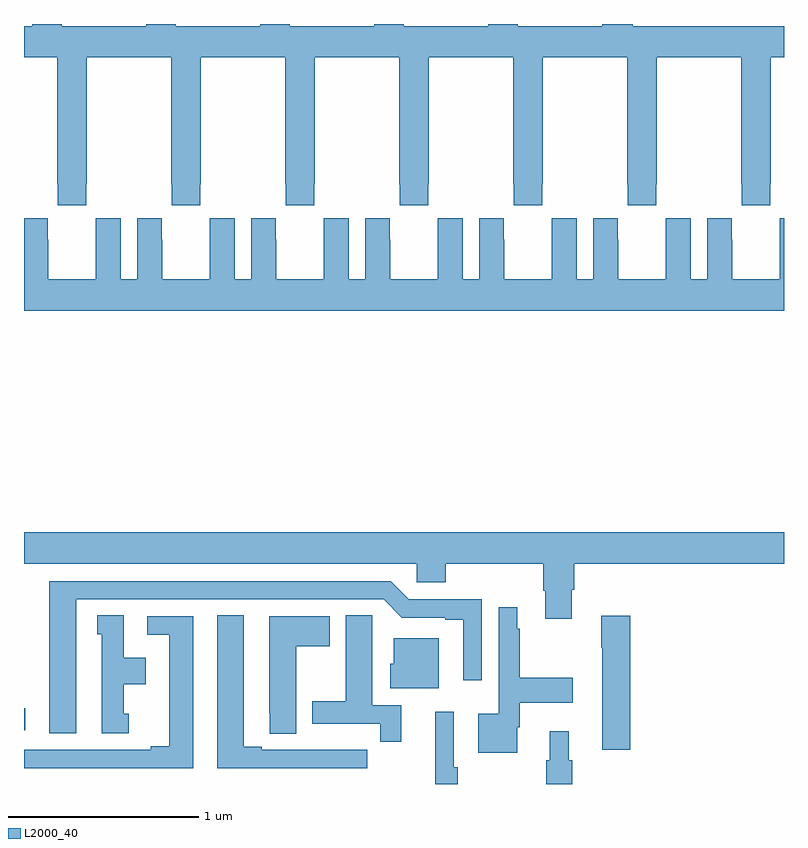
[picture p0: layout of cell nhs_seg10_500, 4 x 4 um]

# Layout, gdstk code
import gdstk
lib = gdstk.Library(unit=1e-6, precision=1e-09)
def R(c, l, rs):  # rectangles x0, y0, x1, y1
    for r in rs: c.add(gdstk.rectangle(r[:2], r[2:], *l))
def P(c, l, *ps):  # polygons
    for p in ps: c.add(gdstk.Polygon(p, *l))
L2000_40 = (2000, 40)

nhs_seg10_500 = lib.new_cell('nhs_seg10_500')
R(nhs_seg10_500, L2000_40, [(135,1288.782,135.007,1288.898)])
P(nhs_seg10_500, L2000_40, [(135.175,1291.657),(135.177,1291.657),(135.177,1291.545),(135.327,1291.545),(135.327,1291.657),(135.33,1291.657),(135.33,1292.324),(135.775,1292.324),(135.775,1291.657),(135.777,1291.657),(135.777,1291.545),(135.927,1291.545),(135.927,1291.657),(135.93,1291.657),(135.93,1292.324),(136.375,1292.324),(136.375,1291.657),(136.377,1291.657),(136.377,1291.545),(136.527,1291.545),(136.527,1291.657),(136.53,1291.657),(136.53,1292.324),(136.975,1292.324),(136.975,1291.657),(136.977,1291.657),(136.977,1291.545),(137.127,1291.545),(137.127,1291.657),(137.13,1291.657),(137.13,1292.324),(137.575,1292.324),(137.575,1291.657),(137.577,1291.657),(137.577,1291.545),(137.727,1291.545),(137.727,1291.657),(137.73,1291.657),(137.73,1292.324),(138.175,1292.324),(138.175,1291.657),(138.177,1291.657),(138.177,1291.545),(138.327,1291.545),(138.327,1291.657),(138.33,1291.657),(138.33,1292.324),(138.775,1292.324),(138.775,1291.657),(138.777,1291.657),(138.777,1291.545),(138.927,1291.545),(138.927,1291.657),(138.93,1291.657),(138.93,1292.324),(139,1292.324),(139,1292.488),(138.203,1292.488),(138.203,1292.5),(138.043,1292.5),(138.043,1292.488),(137.598,1292.488),(137.598,1292.5),(137.443,1292.5),(137.443,1292.488),(136.998,1292.488),(136.998,1292.5),(136.843,1292.5),(136.843,1292.488),(136.398,1292.488),(136.398,1292.5),(136.243,1292.5),(136.243,1292.488),(135.798,1292.488),(135.798,1292.5),(135.643,1292.5),(135.643,1292.488),(135.198,1292.488),(135.198,1292.5),(135.043,1292.5),(135.043,1292.488),(135,1292.488),(135,1292.324),(135.175,1292.324)],
  [(139,1291.477),(138.978,1291.477),(138.978,1291.364),(138.977,1291.364),(138.977,1291.156),(138.727,1291.156),(138.727,1291.364),(138.726,1291.364),(138.726,1291.477),(138.596,1291.477),(138.596,1291.156),(138.508,1291.156),(138.508,1291.477),(138.378,1291.477),(138.378,1291.364),(138.377,1291.364),(138.377,1291.156),(138.127,1291.156),(138.127,1291.364),(138.126,1291.364),(138.126,1291.477),(137.996,1291.477),(137.996,1291.156),(137.908,1291.156),(137.908,1291.477),(137.778,1291.477),(137.778,1291.364),(137.777,1291.364),(137.777,1291.156),(137.527,1291.156),(137.527,1291.364),(137.526,1291.364),(137.526,1291.477),(137.396,1291.477),(137.396,1291.156),(137.308,1291.156),(137.308,1291.477),(137.178,1291.477),(137.178,1291.364),(137.177,1291.364),(137.177,1291.156),(136.927,1291.156),(136.927,1291.364),(136.926,1291.364),(136.926,1291.477),(136.796,1291.477),(136.796,1291.156),(136.708,1291.156),(136.708,1291.477),(136.578,1291.477),(136.578,1291.364),(136.577,1291.364),(136.577,1291.156),(136.327,1291.156),(136.327,1291.364),(136.326,1291.364),(136.326,1291.477),(136.196,1291.477),(136.196,1291.156),(136.108,1291.156),(136.108,1291.477),(135.978,1291.477),(135.978,1291.364),(135.977,1291.364),(135.977,1291.156),(135.727,1291.156),(135.727,1291.364),(135.726,1291.364),(135.726,1291.477),(135.596,1291.477),(135.596,1291.156),(135.508,1291.156),(135.508,1291.477),(135.378,1291.477),(135.378,1291.364),(135.377,1291.364),(135.377,1291.156),(135.127,1291.156),(135.127,1291.364),(135.126,1291.364),(135.126,1291.477),(135,1291.477),(135,1290.992),(139,1290.992)],
  [(137.884,1289.523),(137.897,1289.523),(137.897,1289.66),(139,1289.66),(139,1289.824),(135,1289.824),(135,1289.66),(137.067,1289.66),(137.067,1289.562),(137.219,1289.562),(137.219,1289.66),(137.732,1289.66),(137.732,1289.518),(137.744,1289.518),(137.744,1289.37),(137.884,1289.37)],
  [(135.274,1289.472),(136.893,1289.472),(136.989,1289.376),(137.216,1289.376),(137.216,1289.364),(137.312,1289.364),(137.312,1289.046),(137.409,1289.046),(137.409,1289.472),(137.025,1289.472),(136.929,1289.568),(135.134,1289.568),(135.134,1288.767),(135.274,1288.767)],
  [(137.596,1288.8),(137.608,1288.8),(137.608,1288.928),(137.887,1288.928),(137.887,1289.058),(137.608,1289.058),(137.608,1289.318),(137.596,1289.318),(137.596,1289.431),(137.499,1289.431),(137.499,1288.87),(137.39,1288.87),(137.39,1288.664),(137.596,1288.664)],
  [(135.55,1288.869),(135.526,1288.869),(135.526,1289.024),(135.64,1289.024),(135.64,1289.164),(135.526,1289.164),(135.526,1289.387),(135.386,1289.387),(135.386,1289.289),(135.41,1289.289),(135.41,1288.767),(135.55,1288.767)],
  [(136.807,1288.68),(136.694,1288.68),(136.694,1288.681),(136.528,1288.681),(136.528,1288.68),(136.252,1288.68),(136.252,1288.695),(136.156,1288.695),(136.156,1289.387),(136.016,1289.387),(136.016,1288.584),(136.807,1288.584)],
  [(136.985,1288.914),(136.834,1288.914),(136.834,1289.276),(136.833,1289.276),(136.833,1289.387),(136.694,1289.387),(136.694,1288.935),(136.517,1288.935),(136.517,1288.818),(136.876,1288.818),(136.876,1288.722),(136.985,1288.722)],
  [(138.191,1289.386),(138.037,1289.386),(138.037,1289.216),(138.044,1289.216),(138.044,1288.68),(138.191,1288.68)],
  [(136.432,1289.224),(136.609,1289.224),(136.609,1289.383),(136.292,1289.383),(136.292,1288.873),(136.293,1288.873),(136.293,1288.765),(136.432,1288.765)],
  [(135.892,1289.382),(135.648,1289.382),(135.648,1289.286),(135.764,1289.286),(135.764,1288.7),(135.668,1288.7),(135.668,1288.68),(135,1288.68),(135,1288.584),(135.892,1288.584)],
  [(137.182,1289.266),(136.946,1289.266),(136.946,1289.133),(136.928,1289.133),(136.928,1289.003),(137.182,1289.003)],
  [(137.282,1288.588),(137.262,1288.588),(137.262,1288.879),(137.165,1288.879),(137.165,1288.5),(137.282,1288.5)],
  [(137.885,1288.626),(137.866,1288.626),(137.866,1288.777),(137.768,1288.777),(137.768,1288.626),(137.749,1288.626),(137.749,1288.5),(137.885,1288.5)])

lib.write_gds('nhs_seg10_500.gds')
